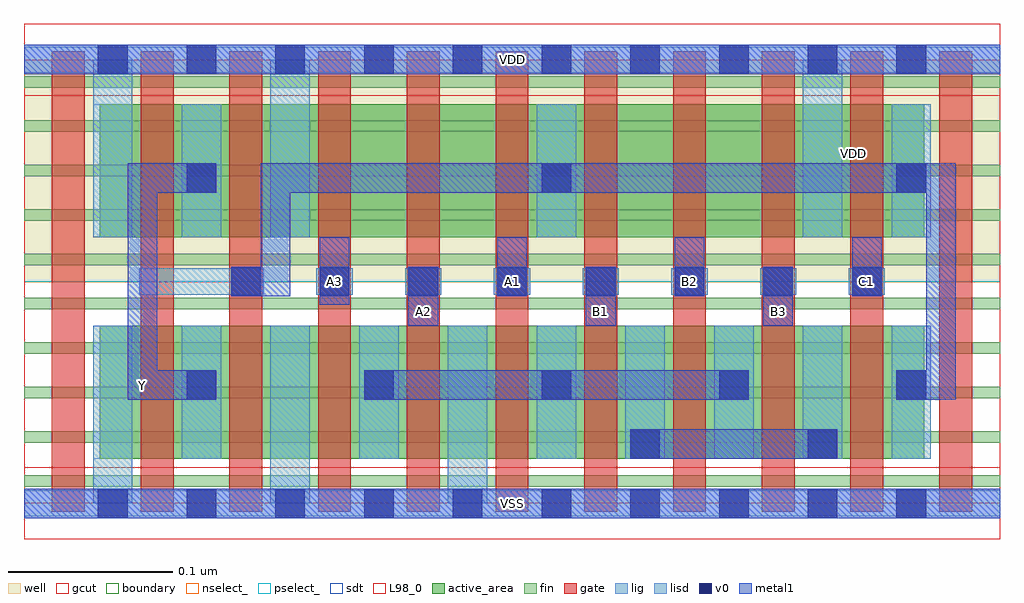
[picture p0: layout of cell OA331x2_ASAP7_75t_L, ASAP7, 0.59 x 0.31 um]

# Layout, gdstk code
import gdstk
lib = gdstk.Library(unit=1e-6, precision=2.5e-10)
def R(c, l, rs):  # rectangles x0, y0, x1, y1
    for r in rs: c.add(gdstk.rectangle(r[:2], r[2:], *l))
def A(c, l, x, y, w, h, nx, ny, dx, dy):  # array of equal rectangles
    R(c, l, [(x+i*dx, y+j*dy, x+i*dx+w, y+j*dy+h) for i in range(nx) for j in range(ny)])
def P(c, l, *ps):  # polygons
    for p in ps: c.add(gdstk.Polygon(p, *l))
well = (1, 0)
fin = (2, 0)
gate = (7, 0)
gcut = (10, 0)
active_area = (11, 0)
nselect_ = (12, 0)
pselect_ = (13, 0)
lig = (16, 0)
lisd = (17, 0)
v0 = (18, 0)
metal1 = (19, 0)
sdt = (88, 0)
L98_0 = (98, 0)
boundary = (100, 0)

oa331x2_asap7_75t_l = lib.new_cell('OA331x2_ASAP7_75t_L')
R(oa331x2_asap7_75t_l, well, [(0,0.135,0.594,0.27)])
A(oa331x2_asap7_75t_l, fin, 0, 0.01, 0.594, 0.007, 1, 10, 0, 0.027)
A(oa331x2_asap7_75t_l, gate, 0.017, -0.005, 0.02, 0.28, 11, 1, 0.054, 0)
R(oa331x2_asap7_75t_l, gcut, [(0,-0.022,0.594,0.022), (0,0.248,0.594,0.292)])
R(oa331x2_asap7_75t_l, active_area, [(0.046,0.027,0.548,0.108), (0.046,0.162,0.548,0.243)])
R(oa331x2_asap7_75t_l, nselect_, [(0,0,0.594,0.135)])
R(oa331x2_asap7_75t_l, pselect_, [(0,0.135,0.594,0.27)])
A(oa331x2_asap7_75t_l, lig, 0.178, 0.127, 0.022, 0.016, 7, 1, 0.054, 0)
R(oa331x2_asap7_75t_l, lig, [(0,-0.008,0.594,0.008), (0.07,0.127,0.146,0.143), (0,0.262,0.594,0.278)])
A(oa331x2_asap7_75t_l, lisd, 0.042, 0, 0.024, 0.108, 3, 1, 0.108, 0)
A(oa331x2_asap7_75t_l, lisd, 0.096, 0.027, 0.024, 0.081, 3, 1, 0.108, 0)
A(oa331x2_asap7_75t_l, lisd, 0.366, 0.027, 0.024, 0.081, 4, 1, 0.054, 0)
A(oa331x2_asap7_75t_l, lisd, 0.096, 0.162, 0.024, 0.081, 3, 1, 0.216, 0)
R(oa331x2_asap7_75t_l, lisd, [(0.042,0.162,0.066,0.27), (0.15,0.162,0.174,0.27), (0.474,0.162,0.498,0.27)])
A(oa331x2_asap7_75t_l, v0, 0.045, -0.009, 0.018, 0.018, 10, 2, 0.054, 0.27)
A(oa331x2_asap7_75t_l, v0, 0.099, 0.063, 0.018, 0.018, 5, 1, 0.108, 0)
A(oa331x2_asap7_75t_l, v0, 0.126, 0.126, 0.018, 0.018, 8, 1, 0.054, 0)
A(oa331x2_asap7_75t_l, v0, 0.099, 0.189, 0.018, 0.018, 3, 1, 0.216, 0)
R(oa331x2_asap7_75t_l, v0, [(0.369,0.027,0.387,0.045), (0.477,0.027,0.495,0.045)])
A(oa331x2_asap7_75t_l, metal1, 0.234, 0.108, 0.018, 0.036, 3, 1, 0.108, 0)
A(oa331x2_asap7_75t_l, metal1, 0.288, 0.126, 0.018, 0.036, 3, 1, 0.108, 0)
R(oa331x2_asap7_75t_l, metal1, [(0,-0.009,0.594,0.009), (0.369,0.027,0.495,0.045), (0.207,0.063,0.441,0.081), (0.18,0.121,0.198,0.162), (0,0.261,0.594,0.279)])
P(oa331x2_asap7_75t_l, metal1, [(0.531,0.063),(0.531,0.081),(0.549,0.081),(0.549,0.189),(0.162,0.189),(0.162,0.126),(0.126,0.126),(0.126,0.144),(0.144,0.144),(0.144,0.207),(0.567,0.207),(0.567,0.063)],
  [(0.063,0.063),(0.063,0.207),(0.117,0.207),(0.117,0.189),(0.081,0.189),(0.081,0.081),(0.117,0.081),(0.117,0.063)])
A(oa331x2_asap7_75t_l, sdt, 0.042, 0.027, 0.024, 0.081, 10, 1, 0.054, 0)
A(oa331x2_asap7_75t_l, sdt, 0.042, 0.162, 0.024, 0.081, 3, 1, 0.054, 0)
R(oa331x2_asap7_75t_l, sdt, [(0.312,0.162,0.336,0.243), (0.474,0.162,0.498,0.243), (0.528,0.162,0.552,0.243)])
R(oa331x2_asap7_75t_l, L98_0, [(0,0,0.594,0.27)])
R(oa331x2_asap7_75t_l, boundary, [(0,0,0.594,0.27)])
oa331x2_asap7_75t_l.add(gdstk.Label('Y', (0.072,0.072), layer=19, texttype=251))
oa331x2_asap7_75t_l.add(gdstk.Label('C1', (0.513,0.135), layer=19, texttype=251))
oa331x2_asap7_75t_l.add(gdstk.Label('B3', (0.459,0.117), layer=19, texttype=251))
oa331x2_asap7_75t_l.add(gdstk.Label('B2', (0.405,0.135), layer=19, texttype=251))
oa331x2_asap7_75t_l.add(gdstk.Label('B1', (0.351,0.117), layer=19, texttype=251))
oa331x2_asap7_75t_l.add(gdstk.Label('A3', (0.189,0.135), layer=19, texttype=251))
oa331x2_asap7_75t_l.add(gdstk.Label('A2', (0.243,0.117), layer=19, texttype=251))
oa331x2_asap7_75t_l.add(gdstk.Label('A1', (0.297,0.135), layer=19, texttype=251))
oa331x2_asap7_75t_l.add(gdstk.Label('VSS', (0.297,0), layer=19, texttype=251))
oa331x2_asap7_75t_l.add(gdstk.Label('VDD', (0.297,0.27), layer=19, texttype=251))
oa331x2_asap7_75t_l.add(gdstk.Label('VDD', (0.505,0.213), layer=1, texttype=251))
oa331x2_asap7_75t_l.add(gdstk.Label('VSS', (0.683,0.213), layer=3, texttype=251))

lib.write_gds('OA331x2_ASAP7_75t_L.gds')
